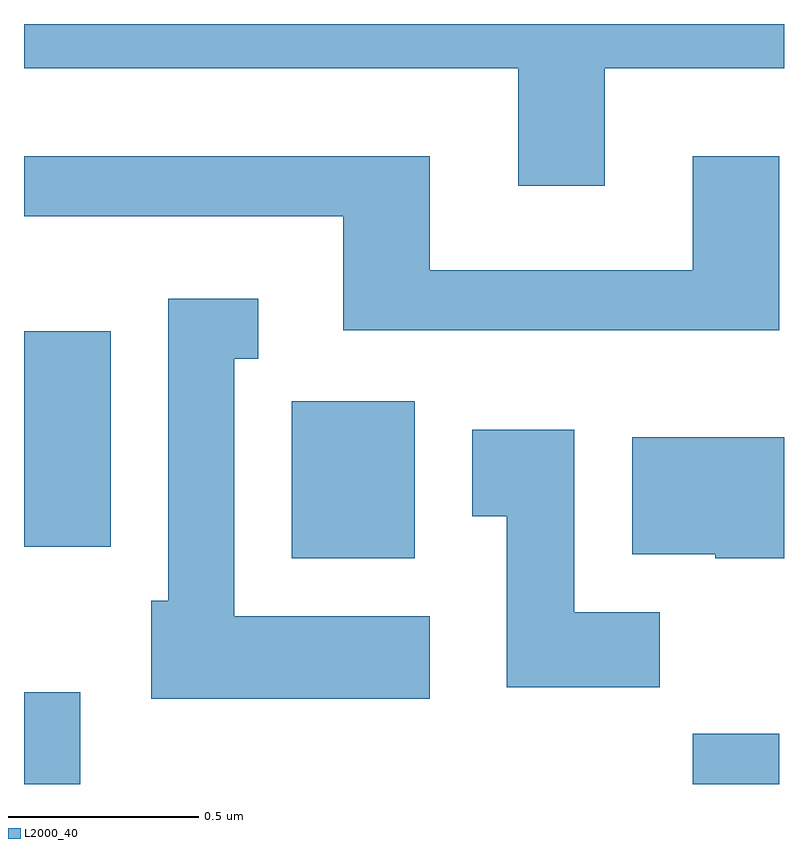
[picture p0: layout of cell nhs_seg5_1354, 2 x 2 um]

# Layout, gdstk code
import gdstk
lib = gdstk.Library(unit=1e-6, precision=1e-09)
def R(c, l, rs):  # rectangles x0, y0, x1, y1
    for r in rs: c.add(gdstk.rectangle(r[:2], r[2:], *l))
def P(c, l, *ps):  # polygons
    for p in ps: c.add(gdstk.Polygon(p, *l))
L2000_40 = (2000, 40)

nhs_seg5_1354 = lib.new_cell('nhs_seg5_1354')
R(nhs_seg5_1354, L2000_40, [(194.611,1517.072,194.759,1517.314), (196.371,1517.072,196.599,1517.204), (195.316,1517.666,195.639,1518.079), (194.611,1517.696,194.839,1518.264)])
P(nhs_seg5_1354, L2000_40, [(196.139,1518.956),(196.611,1518.956),(196.611,1519.072),(194.611,1519.072),(194.611,1518.956),(195.911,1518.956),(195.911,1518.646),(196.139,1518.646)],
  [(196.599,1518.724),(196.371,1518.724),(196.371,1518.424),(195.679,1518.424),(195.679,1518.724),(194.611,1518.724),(194.611,1518.566),(195.451,1518.566),(195.451,1518.266),(196.599,1518.266)],
  [(195.679,1517.514),(195.164,1517.514),(195.164,1518.191),(195.228,1518.191),(195.228,1518.349),(194.991,1518.349),(194.991,1517.554),(194.946,1517.554),(194.946,1517.296),(195.679,1517.296)],
  [(196.284,1517.524),(196.059,1517.524),(196.059,1518.004),(195.791,1518.004),(195.791,1517.776),(195.881,1517.776),(195.881,1517.326),(196.284,1517.326)],
  [(196.611,1517.984),(196.211,1517.984),(196.211,1517.676),(196.43,1517.676),(196.43,1517.666),(196.611,1517.666)])

lib.write_gds('nhs_seg5_1354.gds')
